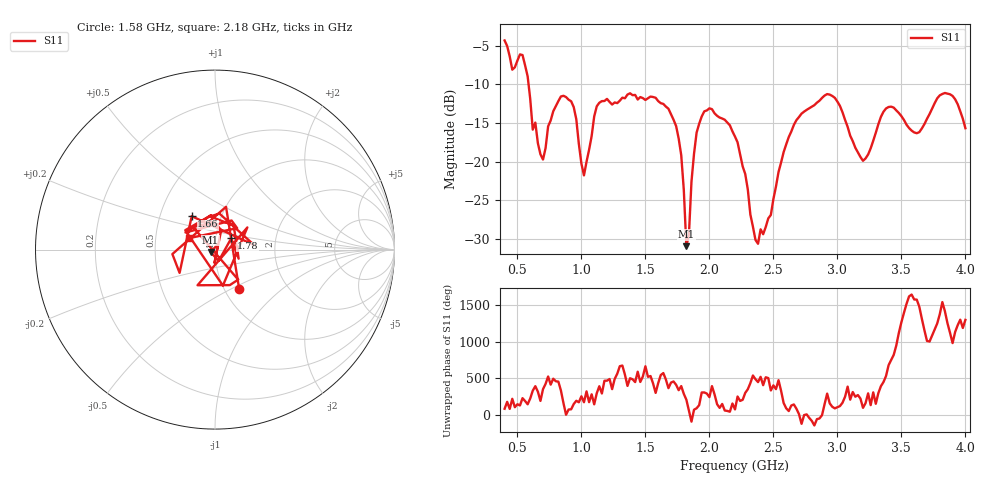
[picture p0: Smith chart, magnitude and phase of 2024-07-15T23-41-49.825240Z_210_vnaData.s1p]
!Created with skrf (http://scikit-rf.org).
# Hz S RI R 50.0
!freq ReS11 ImS11
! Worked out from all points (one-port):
!   181 points, 400 MHz to 4 GHz, reference 50 ohm
!   lowest |S11| = -30.9 dB at 1.82 GHz (marker M1), VSWR 1.06, Z = 47.5 - j1.29 ohm
!   |S11| at or under -10 dB: 587.1 MHz to end of sweep
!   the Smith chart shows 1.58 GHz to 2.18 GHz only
!   S11 on the Smith chart (normalised r, x): 1.58 GHz: 1.17, -0.55; 1.66 GHz: 0.72, +0.28; 1.78 GHz: 1.19, +0.15; 2.18 GHz: 0.74, +0.10
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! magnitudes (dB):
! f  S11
! 400 MHz  -4.3
! 460 MHz  -8.1
! 540 MHz  -6.2
! 620 MHz  -15.9
! 700 MHz  -19.7
! 860 MHz  -11.5
! 940 MHz  -12.9
! 1.02 GHz  -21.8
! 1.12 GHz  -12.8
! 1.3 GHz  -12.1
! 1.58 GHz  -11.7
! 1.66 GHz  -12.9
! 1.76 GHz  -17.0
! 1.78 GHz  -19.2
! 1.82 GHz  -30.9
! 1.88 GHz  -19.0
! 1.94 GHz  -14.2
! 2.18 GHz  -16.1
! 2.2 GHz  -16.8
! 2.38 GHz  -30.6
! 2.66 GHz  -15.2
! 2.92 GHz  -11.3
! 3.1 GHz  -16.6
! 3.2 GHz  -19.9
! 3.38 GHz  -13.1
! 3.56 GHz  -15.7
! 3.84 GHz  -11.1
! 4 GHz  -15.7
